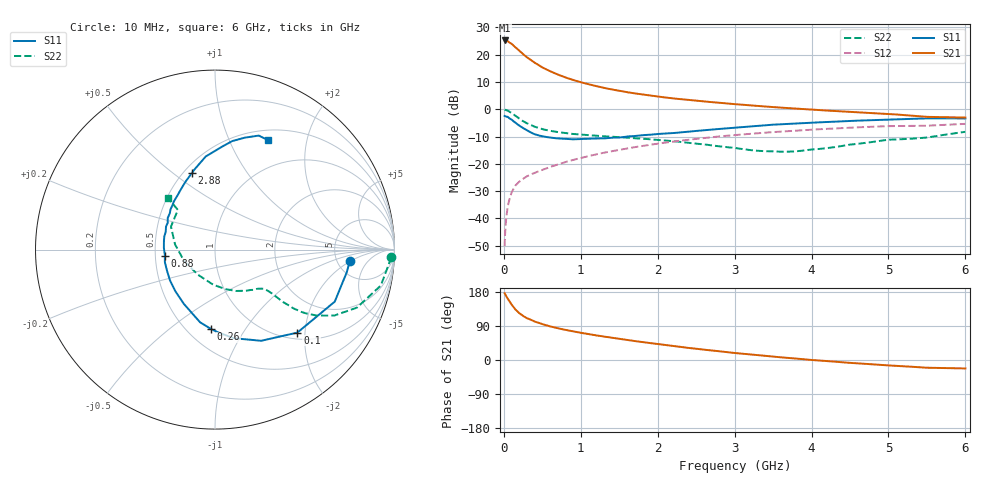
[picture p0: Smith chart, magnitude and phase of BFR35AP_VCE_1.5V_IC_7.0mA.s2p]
! Infineon Technologies  Discrete & RF Semiconductors
! BFR35AP
! VCE =  1.5 V,  IC =  7.0 mA
! Common Emitter S-Parameters:  Nov 2015
# GHz  S  MA  R  50
!  f  S11  S21  S12  S22
! GHz  MAG  ANG  MAG  ANG  MAG  ANG  MAG  ANG
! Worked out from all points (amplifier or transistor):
!   210 points, 10 MHz to 6 GHz, reference 50 ohm
!   highest |S21| = 25.2 dB at 10 MHz (marker M1)
!   |S21| within 3 dB of that: start of sweep to 170.6 MHz
!   unconditionally stable (mu >= 1): 628.1 MHz to 4.388 GHz; 5.148 GHz to end of sweep
!   at 185 MHz: K = 0.48, MSG = 24.4 dB, |S12| = -27.0 dB
!   at 1.52 GHz: K = 1.15, MAG = 8.4 dB, |S12| = -14.8 dB
!   at 6 GHz: K = 1.00, MAG = 0.8 dB, |S12| = -5.4 dB
!   S11 on the Smith chart (normalised r, x): 10 MHz: 6.50, -1.98; 100 MHz: 1.14, -1.83; 260 MHz: 0.65, -0.72; 880 MHz: 0.56, -0.04; 2.88 GHz: 0.55, +0.58; 6 GHz: 0.62, +1.40
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0.01  0.7536 -5.0  18.2 176.3  0.0031 85.7  0.9827 -2.5
0.025  0.739 -12.0  17.91 170.7  0.0081 83.5  0.9661 -6.1
0.05  0.7274 -23.5  17.65 161.8  0.0162 77.9  0.9454 -12.2
0.1  0.6516 -45.2  15.85 146.2  0.0296 69.3  0.8548 -22.2
0.15  0.5693 -63.2  13.67 133.2  0.0399 62.7  0.7599 -28.9
0.2  0.5041 -78.1  11.86 123.6  0.047 59.1  0.6727 -33.1
0.24  0.461 -88.0  10.53 117.8  0.0518 57.8  0.6168 -35.1
0.26  0.4435 -92.7  9.959 115.0  0.0542 57.2  0.593 -35.8
0.3  0.4134 -101.6  8.944 110.2  0.059 56.3  0.5531 -36.7
0.4  0.3491 -119.7  7.136 101.5  0.0683 56.2  0.4787 -37.6
0.5  0.3201 -133.7  5.836 94.4  0.0774 57.0  0.4303 -37.6
0.6  0.3039 -145.6  4.977 88.8  0.0874 57.7  0.4025 -37.6
0.7  0.292 -156.5  4.329 83.8  0.097 58.2  0.3817 -37.8
0.88  0.2819 -172.5  3.51 76.4  0.1158 58.5  0.3551 -38.4
1.02  0.2853 176.8  3.072 71.2  0.1298 58.7  0.3414 -39.6
1.4  0.3017 154.8  2.306 58.9  0.1698 57.0  0.3151 -44.8
2.02  0.3533 130.2  1.692 41.6  0.2362 51.7  0.2725 -57.5
2.88  0.4448 106.9  1.284 21.3  0.3249 41.5  0.2032 -87.0
3.1  0.4709 102.6  1.209 16.7  0.3451 38.5  0.1865 -98.3
4.1  0.5753 86.0  0.965 -1.3  0.43 25.2  0.1873 -165.9
5.1  0.6517 73.8  0.802 -15.4  0.4915 11.5  0.2793 148.3
6  0.6776 64.2  0.704 -22.3  0.5396 1.6  0.3858 132.4
